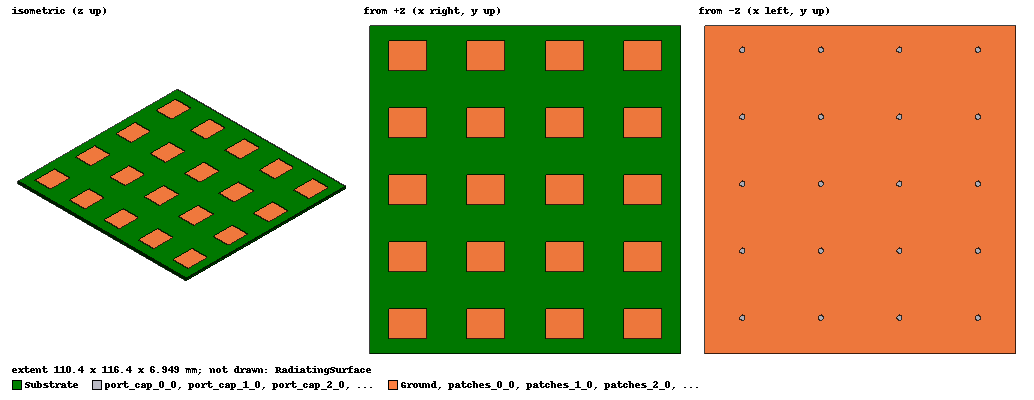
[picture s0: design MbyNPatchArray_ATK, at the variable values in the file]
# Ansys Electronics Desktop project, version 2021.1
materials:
  vacuum: permittivity=1
  Teflon (tm): permittivity=2.1 dielectric_loss_tangent=0.001
  pec: conductivity=1e+30

design MbyNPatchArray_ATK (HFSS, DrivenTerminal, model units mm)
options: Allow_Material_Override Save_Adaptive_support_files open_region{BoundaryType=0 OpFreq=9GHz}
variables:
  # --Antenna Dimensions
  M = 4
  N = 5
  # --Patch Dimensions
  patch_length_x = 13.39mm
  patch_length_y = 10.66mm
  patch_spacing_x = 27.881mm
  patch_spacing_y = 23.783mm
  feed_pin_x = 0mm
  feed_pin_y = 2.09mm
  # --Feed Dimensions
  coax_inner_rad = 0.278mm
  coax_outer_rad = 0.944mm
  feedLength = 5.55mm
  # --Substrate Dimensions
  substrate_height = 1.272mm
  substrate_length_x = 110.415mm
  substrate_length_y = 116.443mm
  design_freq = 9GHz
  gnd_x = substrate_length_x
  gnd_y = substrate_length_y
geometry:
  Substrate [Teflon (tm)] = box(corner=(-substrate_length_x/2, -substrate_length_y/2, 0mm), size=(substrate_length_x, substrate_length_y, substrate_height))
  Ground = rectangle(corner=(-gnd_x/2, -gnd_y/2, 0mm), x_size=gnd_x, y_size=gnd_y)
  patches_0_0 = rectangle(corner=(-patch_length_x/2, -patch_length_y/2, substrate_height), x_size=patch_length_x, y_size=patch_length_y)
  feed_pin_0_0 [pec] = cylinder(axis=Z, base_centre=(feed_pin_x, feed_pin_y, 0mm), radius=coax_inner_rad, height=substrate_height)
  coax_pin_0_0 [pec] = cylinder(axis=Z, base_centre=(feed_pin_x, feed_pin_y, 0mm), radius=coax_inner_rad, height=-feedLength)
  coax_0_0 [Teflon (tm)] = cylinder(axis=Z, base_centre=(feed_pin_x, feed_pin_y, 0mm), radius=coax_outer_rad, height=-feedLength)
  port_cap_0_0 [pec] = cylinder(axis=Z, base_centre=(feed_pin_x, feed_pin_y, -feedLength), radius=coax_outer_rad, height=-substrate_height/10)
  port_0_0 = circle(normal=Z, centre=(feed_pin_x, feed_pin_y, -feedLength), radius=coax_outer_rad)
  NewObject_JP4EQ8 = circle(normal=Z, centre=(feed_pin_x, feed_pin_y, 0mm), radius=coax_outer_rad)
  patches_0_0.move(-patch_spacing_x * 1.5, -patch_spacing_y * 2, 0)
  patches_1_0, patches_2_0, patches_3_0 = patches_0_0.duplicate_along_line(step=(patch_spacing_x, 0mm, 0mm), total=4)
  patches_0_1..patches_0_4 = patches_0_0.duplicate_along_line(step=(0mm, patch_spacing_y, 0mm), total=5)
  patches_1_1..patches_1_4 = patches_1_0.duplicate_along_line(step=(0mm, patch_spacing_y, 0mm), total=5)
  patches_2_1..patches_2_4 = patches_2_0.duplicate_along_line(step=(0mm, patch_spacing_y, 0mm), total=5)
  patches_3_1..patches_3_4 = patches_3_0.duplicate_along_line(step=(0mm, patch_spacing_y, 0mm), total=5)
  feed_pin_0_0.move(-patch_spacing_x * 1.5, -patch_spacing_y * 2, 0)
  feed_pin_1_0, feed_pin_2_0, feed_pin_3_0 [pec] = feed_pin_0_0.duplicate_along_line(step=(patch_spacing_x, 0mm, 0mm), total=4)
  feed_pin_0_1..feed_pin_0_4 [pec] = feed_pin_0_0.duplicate_along_line(step=(0mm, patch_spacing_y, 0mm), total=5)
  feed_pin_1_1..feed_pin_1_4 [pec] = feed_pin_1_0.duplicate_along_line(step=(0mm, patch_spacing_y, 0mm), total=5)
  feed_pin_2_1..feed_pin_2_4 [pec] = feed_pin_2_0.duplicate_along_line(step=(0mm, patch_spacing_y, 0mm), total=5)
  feed_pin_3_1..feed_pin_3_4 [pec] = feed_pin_3_0.duplicate_along_line(step=(0mm, patch_spacing_y, 0mm), total=5)
  coax_pin_0_0.move(-patch_spacing_x * 1.5, -patch_spacing_y * 2, 0)
  coax_pin_1_0, coax_pin_2_0, coax_pin_3_0 [pec] = coax_pin_0_0.duplicate_along_line(step=(patch_spacing_x, 0mm, 0mm), total=4)
  coax_pin_0_1..coax_pin_0_4 [pec] = coax_pin_0_0.duplicate_along_line(step=(0mm, patch_spacing_y, 0mm), total=5)
  coax_pin_1_1..coax_pin_1_4 [pec] = coax_pin_1_0.duplicate_along_line(step=(0mm, patch_spacing_y, 0mm), total=5)
  coax_pin_2_1..coax_pin_2_4 [pec] = coax_pin_2_0.duplicate_along_line(step=(0mm, patch_spacing_y, 0mm), total=5)
  coax_pin_3_1..coax_pin_3_4 [pec] = coax_pin_3_0.duplicate_along_line(step=(0mm, patch_spacing_y, 0mm), total=5)
  coax_0_0.move(-patch_spacing_x * 1.5, -patch_spacing_y * 2, 0)
  coax_1_0, coax_2_0, coax_3_0 [Teflon (tm)] = coax_0_0.duplicate_along_line(step=(patch_spacing_x, 0mm, 0mm), total=4)
  coax_0_1..coax_0_4 [Teflon (tm)] = coax_0_0.duplicate_along_line(step=(0mm, patch_spacing_y, 0mm), total=5)
  coax_1_1..coax_1_4 [Teflon (tm)] = coax_1_0.duplicate_along_line(step=(0mm, patch_spacing_y, 0mm), total=5)
  coax_2_1..coax_2_4 [Teflon (tm)] = coax_2_0.duplicate_along_line(step=(0mm, patch_spacing_y, 0mm), total=5)
  coax_3_1..coax_3_4 [Teflon (tm)] = coax_3_0.duplicate_along_line(step=(0mm, patch_spacing_y, 0mm), total=5)
  port_cap_0_0.move(-patch_spacing_x * 1.5, -patch_spacing_y * 2, 0)
  port_cap_1_0, port_cap_2_0, port_cap_3_0 [pec] = port_cap_0_0.duplicate_along_line(step=(patch_spacing_x, 0mm, 0mm), total=4)
  port_cap_0_1..port_cap_0_4 [pec] = port_cap_0_0.duplicate_along_line(step=(0mm, patch_spacing_y, 0mm), total=5)
  port_cap_1_1..port_cap_1_4 [pec] = port_cap_1_0.duplicate_along_line(step=(0mm, patch_spacing_y, 0mm), total=5)
  port_cap_2_1..port_cap_2_4 [pec] = port_cap_2_0.duplicate_along_line(step=(0mm, patch_spacing_y, 0mm), total=5)
  port_cap_3_1..port_cap_3_4 [pec] = port_cap_3_0.duplicate_along_line(step=(0mm, patch_spacing_y, 0mm), total=5)
  port_0_0.move(-patch_spacing_x * 1.5, -patch_spacing_y * 2, 0)
  port_1_0, port_2_0, port_3_0 = port_0_0.duplicate_along_line(step=(patch_spacing_x, 0mm, 0mm), total=4)
  port_0_1..port_0_4 = port_0_0.duplicate_along_line(step=(0mm, patch_spacing_y, 0mm), total=5)
  port_1_1..port_1_4 = port_1_0.duplicate_along_line(step=(0mm, patch_spacing_y, 0mm), total=5)
  port_2_1..port_2_4 = port_2_0.duplicate_along_line(step=(0mm, patch_spacing_y, 0mm), total=5)
  port_3_1..port_3_4 = port_3_0.duplicate_along_line(step=(0mm, patch_spacing_y, 0mm), total=5)
  NewObject_JP4EQ8.move(-patch_spacing_x * 1.5, -patch_spacing_y * 2, 0)
  NewObject_JP4EQ8_1, NewObject_JP4EQ8_2, NewObject_JP4EQ8_3 = NewObject_JP4EQ8.duplicate_along_line(step=(patch_spacing_x, 0mm, 0mm), total=4)
  NewObject_JP4EQ8_4..NewObject_JP4EQ8_7 = NewObject_JP4EQ8.duplicate_along_line(step=(0mm, patch_spacing_y, 0mm), total=5)
  NewObject_JP4EQ8_1_1..NewObject_JP4EQ8_1_4 = NewObject_JP4EQ8_1.duplicate_along_line(step=(0mm, patch_spacing_y, 0mm), total=5)
  NewObject_JP4EQ8_2_1..NewObject_JP4EQ8_2_4 = NewObject_JP4EQ8_2.duplicate_along_line(step=(0mm, patch_spacing_y, 0mm), total=5)
  NewObject_JP4EQ8_3_1..NewObject_JP4EQ8_3_4 = NewObject_JP4EQ8_3.duplicate_along_line(step=(0mm, patch_spacing_y, 0mm), total=5)
  Ground.subtract(NewObject_JP4EQ8, NewObject_JP4EQ8_4..NewObject_JP4EQ8_7)
  Ground.subtract(NewObject_JP4EQ8_1, NewObject_JP4EQ8_1_1..NewObject_JP4EQ8_1_4)
  Ground.subtract(NewObject_JP4EQ8_2, NewObject_JP4EQ8_2_1..NewObject_JP4EQ8_2_4)
  Ground.subtract(NewObject_JP4EQ8_3, NewObject_JP4EQ8_3_1..NewObject_JP4EQ8_3_4)
  RadiatingSurface [vacuum] = region(absolute_offset=11.111111mm on all sides)
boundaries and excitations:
  antennaMetal_0_0: Perfect E Objects=patches_0_0
  antennaMetal_0_1: Perfect E Objects=patches_0_1
  antennaMetal_0_2: Perfect E Objects=patches_0_2
  antennaMetal_0_3: Perfect E Objects=patches_0_3
  antennaMetal_0_4: Perfect E Objects=patches_0_4
  antennaMetal_1_0: Perfect E Objects=patches_1_0
  antennaMetal_1_1: Perfect E Objects=patches_1_1
  antennaMetal_1_2: Perfect E Objects=patches_1_2
  antennaMetal_1_3: Perfect E Objects=patches_1_3
  antennaMetal_1_4: Perfect E Objects=patches_1_4
  antennaMetal_2_0: Perfect E Objects=patches_2_0
  antennaMetal_2_1: Perfect E Objects=patches_2_1
  antennaMetal_2_2: Perfect E Objects=patches_2_2
  antennaMetal_2_3: Perfect E Objects=patches_2_3
  antennaMetal_2_4: Perfect E Objects=patches_2_4
  antennaMetal_3_0: Perfect E Objects=patches_3_0
  antennaMetal_3_1: Perfect E Objects=patches_3_1
  antennaMetal_3_2: Perfect E Objects=patches_3_2
  antennaMetal_3_3: Perfect E Objects=patches_3_3
  antennaMetal_3_4: Perfect E Objects=patches_3_4
  coax_outer_0_0: Perfect E Faces=coax_0_0.face(1 of 3)
  coax_outer_0_1: Perfect E Faces=coax_0_1.face(1 of 3)
  coax_outer_0_2: Perfect E Faces=coax_0_2.face(1 of 3)
  coax_outer_0_3: Perfect E Faces=coax_0_3.face(1 of 3)
  coax_outer_0_4: Perfect E Faces=coax_0_4.face(1 of 3)
  coax_outer_1_0: Perfect E Faces=coax_1_0.face(1 of 3)
  coax_outer_1_1: Perfect E Faces=coax_1_1.face(1 of 3)
  coax_outer_1_2: Perfect E Faces=coax_1_2.face(1 of 3)
  coax_outer_1_3: Perfect E Faces=coax_1_3.face(1 of 3)
  coax_outer_1_4: Perfect E Faces=coax_1_4.face(1 of 3)
  coax_outer_2_0: Perfect E Faces=coax_2_0.face(1 of 3)
  coax_outer_2_1: Perfect E Faces=coax_2_1.face(1 of 3)
  coax_outer_2_2: Perfect E Faces=coax_2_2.face(1 of 3)
  coax_outer_2_3: Perfect E Faces=coax_2_3.face(1 of 3)
  coax_outer_2_4: Perfect E Faces=coax_2_4.face(1 of 3)
  coax_outer_3_0: Perfect E Faces=coax_3_0.face(1 of 3)
  coax_outer_3_1: Perfect E Faces=coax_3_1.face(1 of 3)
  coax_outer_3_2: Perfect E Faces=coax_3_2.face(1 of 3)
  coax_outer_3_3: Perfect E Faces=coax_3_3.face(1 of 3)
  coax_outer_3_4: Perfect E Faces=coax_3_4.face(1 of 3)
  groundMetal: Perfect E Objects=Ground
  AutoOpen1: Radiation Objects=RadiatingSurface
  coax_pin_0_0_T1: Terminal port=1 Faces=coax_pin_0_0.face(2 of 3) TerminalResistance=50ohm
  coax_pin_0_1_T1: Terminal port=2 Faces=coax_pin_0_1.face(2 of 3) TerminalResistance=50ohm
  coax_pin_0_2_T1: Terminal port=3 Faces=coax_pin_0_2.face(2 of 3) TerminalResistance=50ohm
  coax_pin_0_3_T1: Terminal port=4 Faces=coax_pin_0_3.face(2 of 3) TerminalResistance=50ohm
  coax_pin_0_4_T1: Terminal port=5 Faces=coax_pin_0_4.face(2 of 3) TerminalResistance=50ohm
  coax_pin_1_0_T1: Terminal port=6 Faces=coax_pin_1_0.face(2 of 3) TerminalResistance=50ohm
  coax_pin_1_1_T1: Terminal port=7 Faces=coax_pin_1_1.face(2 of 3) TerminalResistance=50ohm
  coax_pin_1_2_T1: Terminal port=8 Faces=coax_pin_1_2.face(2 of 3) TerminalResistance=50ohm
  coax_pin_1_3_T1: Terminal port=9 Faces=coax_pin_1_3.face(2 of 3) TerminalResistance=50ohm
  coax_pin_1_4_T1: Terminal port=10 Faces=coax_pin_1_4.face(2 of 3) TerminalResistance=50ohm
  coax_pin_2_0_T1: Terminal port=11 Faces=coax_pin_2_0.face(2 of 3) TerminalResistance=50ohm
  coax_pin_2_1_T1: Terminal port=12 Faces=coax_pin_2_1.face(2 of 3) TerminalResistance=50ohm
  coax_pin_2_2_T1: Terminal port=13 Faces=coax_pin_2_2.face(2 of 3) TerminalResistance=50ohm
  coax_pin_2_3_T1: Terminal port=14 Faces=coax_pin_2_3.face(2 of 3) TerminalResistance=50ohm
  coax_pin_2_4_T1: Terminal port=15 Faces=coax_pin_2_4.face(2 of 3) TerminalResistance=50ohm
  coax_pin_3_0_T1: Terminal port=16 Faces=coax_pin_3_0.face(2 of 3) TerminalResistance=50ohm
  coax_pin_3_1_T1: Terminal port=17 Faces=coax_pin_3_1.face(2 of 3) TerminalResistance=50ohm
  coax_pin_3_2_T1: Terminal port=18 Faces=coax_pin_3_2.face(2 of 3) TerminalResistance=50ohm
  coax_pin_3_3_T1: Terminal port=19 Faces=coax_pin_3_3.face(2 of 3) TerminalResistance=50ohm
  coax_pin_3_4_T1: Terminal port=20 Faces=coax_pin_3_4.face(2 of 3) TerminalResistance=50ohm
  1: Wave Port Faces=port_0_0.face(#98) NumModes=1
  2: Wave Port Faces=port_0_1.face NumModes=1
  3: Wave Port Faces=port_0_2.face NumModes=1
  4: Wave Port Faces=port_0_3.face NumModes=1
  5: Wave Port Faces=port_0_4.face NumModes=1
  6: Wave Port Faces=port_1_0.face NumModes=1
  7: Wave Port Faces=port_1_1.face NumModes=1
  8: Wave Port Faces=port_1_2.face NumModes=1
  9: Wave Port Faces=port_1_3.face NumModes=1
  10: Wave Port Faces=port_1_4.face NumModes=1
  11: Wave Port Faces=port_2_0.face NumModes=1
  12: Wave Port Faces=port_2_1.face NumModes=1
  13: Wave Port Faces=port_2_2.face NumModes=1
  14: Wave Port Faces=port_2_3.face NumModes=1
  15: Wave Port Faces=port_2_4.face NumModes=1
  16: Wave Port Faces=port_3_0.face NumModes=1
  17: Wave Port Faces=port_3_1.face NumModes=1
  18: Wave Port Faces=port_3_2.face NumModes=1
  19: Wave Port Faces=port_3_3.face NumModes=1
  20: Wave Port Faces=port_3_4.face NumModes=1
  reference conductors: port_cap_3_4
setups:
  ATK_Solution: HfssDriven Frequency=9GHz MaxDeltaS=0.02 MaximumPasses=15 MinimumPasses=1 MinimumConvergedPasses=1 PercentRefinement=30 BasisOrder=1 PortAccuracy=2 IESolverType=ACA
    sweep FF_Sweep: 4.5GHz to 13.5GHz, 3 points; Type=Discrete SaveFields
    sweep SParam_Sweep: 4.5GHz to 13.5GHz, 100 points; Type=Interpolating InterpTolerance=0.5 InterpMaxSolns=250 PassivityErrorTolerance=0.0001
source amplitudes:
  1:1: 1V 0deg
  2:1, 3:1, 4:1, 5:1, 6:1, 7:1, 8:1, 9:1, 10:1, 11:1, 12:1, 13:1, 14:1, 15:1, 16:1, 17:1, 18:1, 19:1, 20:1: 0V 0deg
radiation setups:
  3D: Infinite Sphere Theta=0deg..180deg step 2deg Phi=-180deg..180deg step 2deg
  Elevation: Infinite Sphere Theta=-180deg..180deg step 1deg Phi=0deg..90deg step 90deg
  Azimuth: Infinite Sphere Theta=90deg..90deg step 0deg Phi=-180deg..180deg step 1deg
  ATK_2D: Infinite Sphere Theta=-180deg..180deg step 1deg Phi=0deg..90deg step 90deg
  ATK_3D: Infinite Sphere Theta=-180deg..180deg step 2deg Phi=0deg..180deg step 5deg
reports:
  ff_3D_GainTotal: dB(GainTotal) vs Phi, Theta on ATK_Solution : LastAdaptive, ATK_3D [Freq=9e+09]
  ff_2D_GainTotal: dB(GainTotal) vs Theta on ATK_Solution : LastAdaptive, ATK_2D [Phi=all Freq=9e+09]
  ff_2D_GainTotal_Stacked: dB(GainTotal) vs Theta on ATK_Solution : FF_Sweep, ATK_2D [Phi=all Freq=all]
  Return Loss: dB(St11), dB(St22), dB(St33), dB(St44), dB(St55), dB(St66), dB(St77), dB(St88), dB(St99), dB(St1010), dB(St1111), dB(St1212), dB(St1313), dB(St1414), dB(St1515), dB(St1616), dB(St1717), dB(St1818), dB(St1919), dB(St2020) vs Freq on ATK_Solution : SParam_Sweep
  Input Impedance: St11, St22, St33, St44, St55, St66, St77, St88, St99, St1010, St1111, St1212, St1313, St1414, St1515, St1616, St1717, St1818, St1919, St2020 on ATK_Solution : SParam_Sweep [Freq=all]
